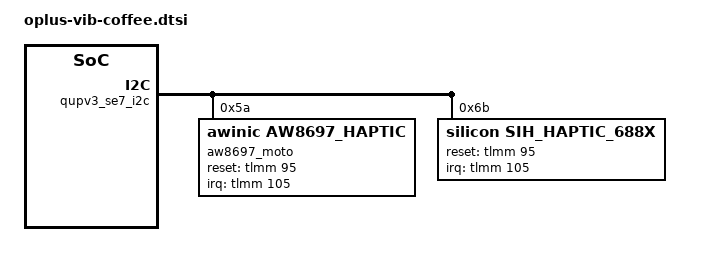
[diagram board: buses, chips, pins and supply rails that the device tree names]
/**********************************************************************************
* Copyright (c)  2008-2021  Guangdong oplus Mobile Comm Corp., Ltd
* Description: oplus sensor dtsi
*
* Version: 1.0
* Date: 2023-08-04
*
* ------------------------------ Revision History: --------------------------------
* <version>           <date>                <author>                            <desc>
***********************************************************************************/
&tlmm {
    vib_irq_gpio_default: vib_irq_gpio_default {
        mux {
            pins = "gpio95", "gpio105";
            function = "gpio";
        };
        config {
            pins = "gpio95", "gpio105";
            drive-strength = <6>;
            bias-pull-up;
        };
    };
};

&soc {
	feedback_fb: feedback_fb {
		compatible = "oplus,haptic-feedback";
	};
};

&qupv3_se7_i2c {

	status = "ok";
	qcom,clk-freq-out = <1000000>;
	aw8697_moto@5a {
        compatible = "awinic,aw8697_haptic";
        reg = <0x5a>;
        reset-gpio = <&tlmm 95 0x0>;
        irq-gpio = <&tlmm 105 0x0>;
        qcom,device_id = <1419>;
        pinctrl-names = "irq_active";
        pinctrl-0 = <&vib_irq_gpio_default>;
        oplus,aw86927_boost_voltage = <0x5A>; /* 9.1v */
        haptic_vmax = /bits/ 8 < 0x28 0x28 0x28 0x28 0x28 0x28 0x28 0x28 0x2A 0x31 0x38 0x3F 0x46 0x4C 0x51 0x58 0x5A >;
        haptic_gain = /bits/ 8 < 0x40 0x49 0x51 0x5A 0x62 0x6B 0x73 0x7C 0x80 0x80 0x80 0x80 0x80 0x80 0x80 0x80 0x80 >;
        status = "okay";
    };
    // SIH6887 Haptic
    sih_haptic_688x@6B {
        compatible = "silicon,sih_haptic_688X";
        reg = <0x6B>;
        reset-gpio = <&tlmm 95 0x0>;
        irq-gpio = <&tlmm 105 0x0>;
        qcom,device_id = <1419>;
        lra_name = "1419combo";
        pinctrl-names = "irq_active";
        pinctrl-0 = <&vib_irq_gpio_default>;
        oplus,sih6887_boost_voltage = <91>; /* 9.1v */
        haptic_vmax = /bits/ 8 < 60 60 60 60 60 60 60 60 62 66 70 74 79 83 86 90 91 >;
        haptic_gain = /bits/ 8 < 0x40 0x49 0x51 0x5A 0x62 0x6B 0x73 0x7C 0x80 0x80 0x80 0x80 0x80 0x80 0x80 0x80 0x80 >;
        status = "okay";
    };
};
